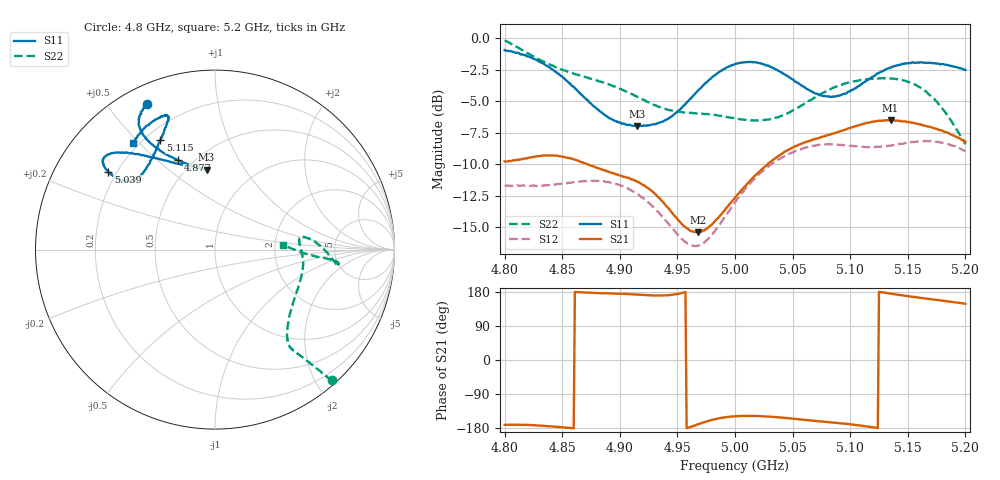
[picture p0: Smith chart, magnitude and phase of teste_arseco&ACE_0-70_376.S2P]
! Network Analyzer HP8722D
! Hewlett-Packard
! Data name: Linha & Wilkinson
! Saver's name: Rodrigo Anjos
! Comments: Teste da utilização de aquisição
! continua pelo VNA HP8722D
! Time and date: 8/5/2025 15:53
!  Frequency  S11  S21  S12  S22
# HZ  S  MA R 50
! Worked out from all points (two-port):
!   401 points, 4.8 GHz to 5.2 GHz, reference 50 ohm
!   highest |S21| = -6.50 dB at 5.135 GHz (marker M1); lowest = -15.4 dB at 4.968 GHz (marker M2)
!   |S21| within 3 dB of the highest: 4.82 GHz to 4.855 GHz (34.9 MHz wide, 0.721 % of centre); 5.035 GHz to end of sweep
!   lowest |S11| = -7.0 dB at 4.915 GHz (marker M3), VSWR 2.62, Z = 30.9 + j34.4 ohm
!   |S11| at or under -10 dB: nowhere
!   |S22| runs from -8.4 to -0.2 dB; largest |S21 - S12| = 0.83
!   S11 on the Smith chart (normalised r, x): 4.8 GHz: 0.08, +0.63; 4.877 GHz: 0.42, +0.59; 5.039 GHz: 0.17, +0.32; 5.115 GHz: 0.26, +0.59; 5.2 GHz: 0.18, +0.48
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4.8e9  0.8945 115.2  0.3245 -171.1  0.2599 -86.4  0.9773 -48.2
4.833e9  0.7941 121.7  0.3421 -173.5  0.2599 -77.9  0.8079 -50.3
4.849e9  0.7069 121.4  0.3392 -177.5  0.2649 -72.6  0.7512 -51.2
4.867e9  0.5939 117.2  0.3223 178.5  0.2702 -68.4  0.7073 -52.2
4.877e9  0.5379 112.4  0.31 177.1  0.2719 -67.4  0.6855 -52.4
4.899e9  0.4644 100.6  0.2863 174.9  0.2626 -68.2  0.6325 -50.4
4.915e9  0.4473 96.0  0.2696 172.5  0.2412 -69.9  0.5859 -46.2
4.934e9  0.4615 100.4  0.2326 170.2  0.2034 -70.5  0.5329 -36.6
4.956e9  0.5408 116.2  0.1793 178.5  0.1567 -59.8  0.5068 -22.3
4.968e9  0.6192 124.1  0.1697 -169.8  0.1504 -46.5  0.5012 -15.1
4.98e9  0.6975 130.1  0.1826 -158.2  0.1661 -33.6  0.4971 -9.0
5e9  0.7882 137.0  0.2327 -148.6  0.2233 -22.0  0.4804 -0.3
5.018e9  0.8004 141.2  0.2861 -147.6  0.2804 -19.5  0.4716 5.7
5.039e9  0.7351 143.9  0.3435 -151.4  0.3324 -20.0  0.4891 8.2
5.067e9  0.6125 141.7  0.3955 -159.8  0.3736 -22.3  0.5721 3.2
5.088e9  0.5875 132.2  0.4223 -165.8  0.3778 -25.5  0.6424 -3.5
5.115e9  0.6821 116.5  0.4613 -175.4  0.3692 -28.4  0.687 -7.0
5.134e9  0.7599 110.3  0.4715 175.8  0.3742 -30.5  0.6913 -6.3
5.135e9  0.7639 110.2  0.4729 175.3  0.375 -30.5  0.6917 -6.2
5.163e9  0.7994 112.5  0.451 163.1  0.3902 -37.6  0.626 -4.6
5.181e9  0.7877 119.3  0.4265 156.2  0.3834 -43.4  0.5185 -2.9
5.2e9  0.7467 127.6  0.3879 148.5  0.3559 -48.5  0.3792 4.2
